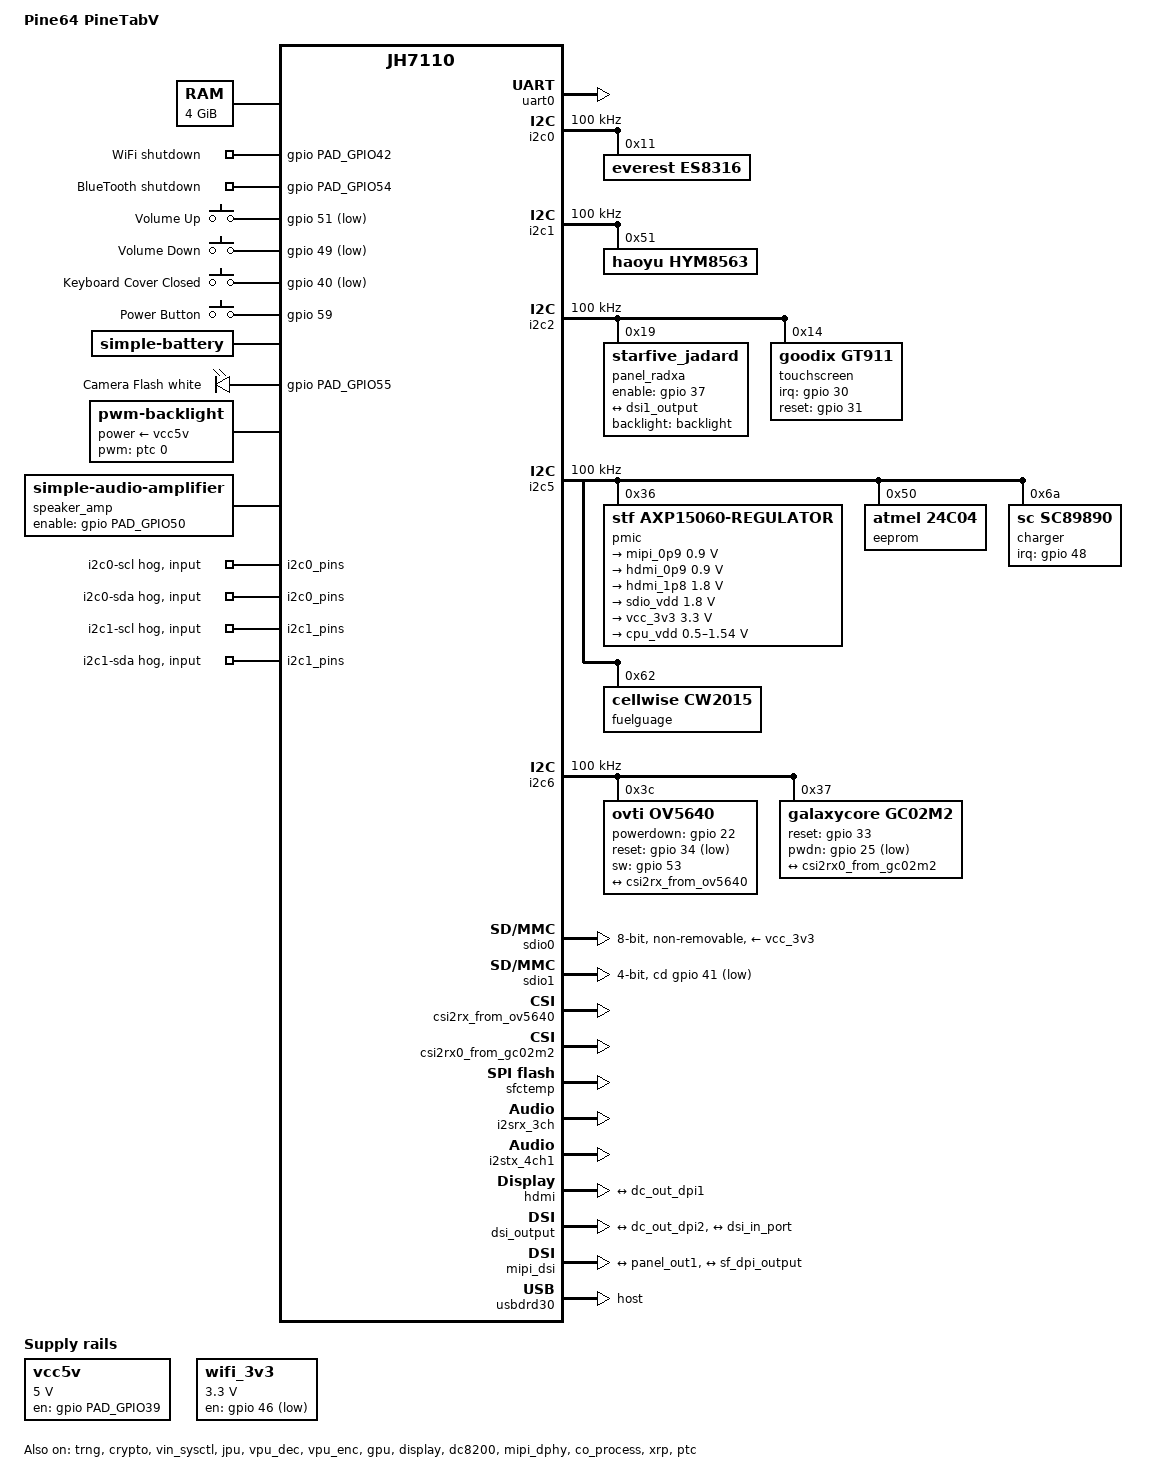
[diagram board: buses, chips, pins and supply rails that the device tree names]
// SPDX-License-Identifier: GPL-2.0 OR MIT
/*
 * Copyright (C) 2022 StarFive Technology Co., Ltd.
 * Copyright (C) 2022 Hal Feng <hal.feng@starfivetech.com>
 */

/dts-v1/;
#include <dt-bindings/gpio/gpio.h>
#include <dt-bindings/leds/common.h>
#include <dt-bindings/pinctrl/starfive,jh7110-pinfunc.h>
#include <dt-bindings/phy/phy.h>
#include <dt-bindings/input/linux-event-codes.h>
#include "jh7110.dtsi"
#include "codecs/sf_hdmi.dtsi"

/ {
	model = "Pine64 PineTabV";
	compatible = "pine64,pinetabv", "starfive,jh7110";
	chassis-type = "tablet";

	aliases {
		spi0 = &qspi;
		gpio0 = &gpio;
		ethernet0 = &gmac0;
		ethernet1 = &gmac1;
		mmc0 = &sdio0;
		mmc1 = &sdio1;
		serial0 = &uart0;
		serial3 = &uart3;
		i2c0 = &i2c0;
		i2c1 = &i2c1;
		i2c2 = &i2c2;
		i2c3 = &i2c3;
		i2c4 = &i2c4;
		i2c5 = &i2c5;
		i2c6 = &i2c6;
	};

	chosen {
		linux,initrd-start = <0x0 0x46100000>;
		linux,initrd-end = <0x0 0x4c000000>;
		stdout-path = "serial0:115200";
		#bootargs = "debug console=ttyS0 rootwait";
	};

	cpus {
		timebase-frequency = <4000000>;
	};

	memory@40000000 {
		device_type = "memory";
		reg = <0x0 0x40000000 0x1 0x0>;
	};

	reserved-memory {
		#address-cells = <2>;
		#size-cells = <2>;
		ranges;

		linux,cma {
			compatible = "shared-dma-pool";
			reusable;
			size = <0x0 0x20000000>;
			alignment = <0x0 0x1000>;
			alloc-ranges = <0x0 0x80000000 0x0 0x20000000>;
			linux,cma-default;
		};

		e24_mem: e24@c0000000 {
			no-map;
			reg = <0x0 0xc0110000 0x0 0xf0000>;
		};

		xrp_reserved: xrpbuffer@f0000000 {
			reg = <0x0 0xf0000000 0x0 0x01ffffff
				0x0 0xf2000000 0x0 0x00001000
				0x0 0xf2001000 0x0 0x00fff000
				0x0 0xf3000000 0x0 0x00001000>;
		};

	};

    vcc5v: vcc5v{
        compatible = "regulator-fixed";
        enable-active-high;
        gpio = <&gpio PAD_GPIO39 GPIO_ACTIVE_LOW>;
        regulator-boot-on;
        regulator-always-on;
        regulator-name = "vcc_5v";
        regulator-min-microvolt = <5000000>;
        regulator-max-microvolt = <5000000>;
    };

    wifi_3v3: wifi_3v3{
        compatible = "regulator-fixed";
        enable-active-low;
        gpio = <&gpio 46 1>;
        regulator-boot-on;
        regulator-always-on;
        regulator-name = "wifi_3v3";
        regulator-min-microvolt = <3300000>;
        regulator-max-microvolt = <3300000>;
    };

	rfkill_wifi {
		compatible = "rfkill-gpio";
		label = "WiFi";
		radio-type = "wlan";
		shutdown-gpios = <&gpio PAD_GPIO42 GPIO_ACTIVE_HIGH>;
	};

	rfkill_bt {
		compatible = "rfkill-gpio";
		label = "BlueTooth";
		radio-type = "bluetooth";
		shutdown-gpios = <&gpio PAD_GPIO54 GPIO_ACTIVE_HIGH>;
	};


    gpio_keys: gpio-keys {
        status = "okay";
        compatible = "gpio-keys";
        autorepeat;

        vol-up-key {
            label = "Volume Up";
            debounce-interval = <10>;
            linux,input-type = <EV_KEY>;
            linux,code = <KEY_VOLUMEUP>;
            gpios = <&gpio 51 GPIO_ACTIVE_LOW>;
        };

        vol-down-key {
            label = "Volume Down";
            debounce-interval = <10>;
            linux,input-type = <EV_KEY>;
            linux,code = <KEY_VOLUMEDOWN>;
            gpios = <&gpio 49 GPIO_ACTIVE_LOW>;
        };

        hall-key {
            label = "Keyboard Cover Closed";
            debounce-interval = <10>;
            linux,input-type = <EV_SW>;
            linux,code = <SW_LID>;
            gpios = <&gpio 40 GPIO_ACTIVE_LOW>;
        };

		power-key {
			label = "Power Button";
			debounce-interval = <10>;
			linux,input-type = <EV_KEY>;
			linux,code = <KEY_POWER>;
			gpios = <&gpio 59 GPIO_ACTIVE_HIGH>;
		};

    };

	battery: battery {
		compatible = "simple-battery";
		charge-full-design-microamp-hours = <6000000>;
		charge-term-current-microamp = <300000>;
		constant-charge-current-max-microamp = <2000000>;
		constant-charge-voltage-max-microvolt = <4350000>;
		voltage-max-design-microvolt = <4350000>;
		voltage-min-design-microvolt = <3400000>;

		ocv-capacity-celsius = <20>;
		ocv-capacity-table-0 = <4322000 100>, <4250000 95>, <4192000 90>, <4136000 85>,
				       <4080000 80>, <4022000 75>, <3972000 70>, <3928000 65>,
				       <3885000 60>, <3833000 55>, <3798000 50>, <3780000 45>,
				       <3776000 40>, <3773000 35>, <3755000 30>, <3706000 25>,
				       <3640000 20>, <3589000 15>, <3535000 10>, <3492000 5>,
				       <3400000 0>;
	};

	leds {
		compatible = "gpio-leds";
		led-flash {
			gpios = <&gpio PAD_GPIO55 GPIO_ACTIVE_HIGH>;
			color = <LED_COLOR_ID_WHITE>;
			function = LED_FUNCTION_FLASH;
			linux,default-trigger = "flash";
			label = "Camera Flash";
			power-supply = <&vcc5v>;
		};
	};

	backlight: backlight {
		compatible = "pwm-backlight";
		pwms = <&ptc 0 500000 0>;
		//enable-gpios = <&gpio PAD_GPIO45 GPIO_ACTIVE_HIGH>;
		brightness-levels = <0 1023>;
		num-interpolated-steps = <1023>;
		default-brightness-level = <576>;
		status = "okay";
		power-supply = <&vcc5v>;
	};

	speaker_amp: speaker-amplifier {
		compatible = "simple-audio-amplifier";
		enable-gpios = <&gpio PAD_GPIO50 GPIO_ACTIVE_HIGH>;
		sound-name-prefix = "Speaker Amplifier";
		//VCC-supply = <&pa_5v>;
	};

};

&gpio {
	i2c0_pins: i2c0-pins {
		i2c0-pins-scl {
			starfive,pins = <PAD_GPIO57>;
			starfive,pinmux = <PAD_GPIO57_FUNC_SEL 0>;
			starfive,pin-ioconfig = <IO(GPIO_IE(1) | (GPIO_PU(1)))>;
			starfive,pin-gpio-dout = <GPO_LOW>;
			starfive,pin-gpio-doen = <OEN_I2C0_IC_CLK_OE>;
			starfive,pin-gpio-din =  <GPI_I2C0_IC_CLK_IN_A>;
			gpio-hog;
			line-name = "i2c0-scl";
		};

		i2c0-pins-sda {
			starfive,pins = <PAD_GPIO58>;
			starfive,pinmux = <PAD_GPIO58_FUNC_SEL 0>;
			starfive,pin-ioconfig = <IO(GPIO_IE(1) | (GPIO_PU(1)))>;
			starfive,pin-gpio-dout = <GPO_LOW>;
			starfive,pin-gpio-doen = <OEN_I2C0_IC_DATA_OE>;
			starfive,pin-gpio-din =  <GPI_I2C0_IC_DATA_IN_A>;
			line-name = "i2c0-sda";
			gpio-hog;
		};
	};

	i2c1_pins: i2c1-pins {
		i2c1-pins-scl {
			starfive,pins = <PAD_GPIO23>;
			starfive,pinmux = <PAD_GPIO23_FUNC_SEL 0>;
			starfive,pin-ioconfig = <IO(GPIO_IE(1) | (GPIO_PU(1)))>;
			starfive,pin-gpio-dout = <GPO_LOW>;
			starfive,pin-gpio-doen = <OEN_I2C1_IC_CLK_OE>;
			starfive,pin-gpio-din =  <GPI_I2C1_IC_CLK_IN_A>;
			gpio-hog;
			line-name = "i2c1-scl";
		};

		i2c1-pins-sda {
			starfive,pins = <PAD_GPIO24>;
			starfive,pinmux = <PAD_GPIO24_FUNC_SEL 0>;
			starfive,pin-ioconfig = <IO(GPIO_IE(1) | (GPIO_PU(1)))>;
			starfive,pin-gpio-dout = <GPO_LOW>;
			starfive,pin-gpio-doen = <OEN_I2C1_IC_DATA_OE>;
			starfive,pin-gpio-din =  <GPI_I2C1_IC_DATA_IN_A>;
			line-name = "i2c1-sda";
			gpio-hog;
		};
	};

	i2c5_pins: i2c5-pins {
		i2c5-pins-scl {
			starfive,pins = <PAD_GPIO19>;
			starfive,pinmux = <PAD_GPIO19_FUNC_SEL 0>;
			starfive,pin-ioconfig = <IO(GPIO_IE(1) | (GPIO_PU(1)))>;
			starfive,pin-gpio-dout = <GPO_LOW>;
			starfive,pin-gpio-doen = <OEN_I2C5_IC_CLK_OE>;
			starfive,pin-gpio-din =  <GPI_I2C5_IC_CLK_IN_A>;
		};

		i2c5-pins-sda {
			starfive,pins = <PAD_GPIO20>;
			starfive,pinmux = <PAD_GPIO20_FUNC_SEL 0>;
			starfive,pin-ioconfig = <IO(GPIO_IE(1) | (GPIO_PU(1)))>;
			starfive,pin-gpio-dout = <GPO_LOW>;
			starfive,pin-gpio-doen = <OEN_I2C5_IC_DATA_OE>;
			starfive,pin-gpio-din =  <GPI_I2C5_IC_DATA_IN_A>;
		};
	};

	i2c6_pins: i2c6-pins {
		i2c6-pins-scl {
			starfive,pins = <PAD_GPIO16>;
			starfive,pinmux = <PAD_GPIO16_FUNC_SEL 0>;
			starfive,pin-ioconfig = <IO(GPIO_IE(1) | (GPIO_PU(1)))>;
			starfive,pin-gpio-dout = <GPO_LOW>;
			starfive,pin-gpio-doen = <OEN_I2C6_IC_CLK_OE>;
			starfive,pin-gpio-din =  <GPI_I2C6_IC_CLK_IN_A>;
		};

		i2c6-pins-sda {
			starfive,pins = <PAD_GPIO17>;
			starfive,pinmux = <PAD_GPIO17_FUNC_SEL 0>;
			starfive,pin-ioconfig = <IO(GPIO_IE(1) | (GPIO_PU(1)))>;
			starfive,pin-gpio-dout = <GPO_LOW>;
			starfive,pin-gpio-doen = <OEN_I2C6_IC_DATA_OE>;
			starfive,pin-gpio-din =  <GPI_I2C6_IC_DATA_IN_A>;
		};
	};

	usb_pins: usb-pins {
		/* we are using the pcie1 WAKE gpio here to fudge the overcurrent detection */
        overcurrent-pin {
            starfive,pins = <PAD_GPIO43>;
            starfive,pinmux = <PAD_GPIO43_FUNC_SEL 0>;
            starfive,pin-ioconfig = <IO(GPIO_IE(1))>;
            starfive,pin-gpio-din = <GPI_USB0_OVERCURRENT_N_IO>;
            starfive,pin-gpio-doen = <OEN_HIGH>;
        };
	};

	i2srx_pins: i2srx-pins {
		i2srx-pins0 {
			starfive,pins = <PAD_GPIO61>;
			starfive,pinmux = <PAD_GPIO61_FUNC_SEL 0>;
			starfive,pin-ioconfig = <IO(GPIO_IE(1))>;
			starfive,pin-gpio-doen = <OEN_HIGH>;
			starfive,pin-gpio-din =  <GPI_I2SRX0_EXT_SDIN0>;
		};
	};

	i2s_clk_pins: i2s-clk0 {
		i2s-clk0_bclk {
			starfive,pins = <PAD_GPIO38>;
			starfive,pinmux = <PAD_GPIO38_FUNC_SEL 0>;
			starfive,pin-ioconfig = <IO(GPIO_IE(1))>;
			starfive,pin-gpio-din = <GPI_I2STX0_BCLK_SLV GPI_I2SRX0_BCLK_SLV>;
			starfive,pin-gpio-doen = <OEN_HIGH>;
		};

		i2s-clk0_lrclk {
			starfive,pins = <PAD_GPIO63>;
			starfive,pinmux = <PAD_GPIO63_FUNC_SEL 0>;
			starfive,pin-ioconfig = <IO(GPIO_IE(1))>;
			starfive,pin-gpio-din = <GPI_I2STX0_LRCK_SLV GPI_I2SRX0_LRCK_SLV>;
			starfive,pin-gpio-doen = <OEN_HIGH>;
		};
	};

	i2stx_pins: i2stx-pins {
		i2stx-pins0 {
			starfive,pins = <PAD_GPIO44>;
			starfive,pinmux = <PAD_GPIO44_FUNC_SEL 0>;
			starfive,pin-ioconfig = <IO(GPIO_IE(1))>;
			starfive,pin-gpio-dout = <GPO_I2STX_4CH1_SDO0>;
			starfive,pin-gpio-doen = <OEN_LOW>;
		};
	};


	rfkill_wifi_pins: rfkill_wifi_pins {
		rfkill_wifi_disn {
			starfive,pins = <PAD_GPIO42>;
			starfive,pinmux = <PAD_GPIO42_FUNC_SEL 0>;
			starfive,pin-ioconfig = <IO(GPIO_IE(1))>;
			starfive,pin-gpio-doen = <OEN_HIGH>;			
		};
	};

	rfkill_bt_pins: rfkill_bt_pins {
		rfkill_bt_disn {
			starfive,pins = <PAD_GPIO54>;
			starfive,pinmux = <PAD_GPIO54_FUNC_SEL 0>;
			starfive,pin-ioconfig = <IO(GPIO_IE(1))>;
			starfive,pin-gpio-doen = <OEN_HIGH>;
		};
	};

    ov5640_pins: ov5640_pins {
        ov5640_pins-pwdn {
            starfive,pins = <PAD_GPIO22>;
            starfive,pinmux = <PAD_GPIO22_FUNC_SEL 0>;
            starfive,pin-ioconfig = <IO(GPIO_IE(1))>;
            starfive,pin-gpio-dout = <GPO_HIGH>;
            starfive,pin-gpio-doen = <OEN_LOW>;
        };

		ov5640_pins-rst {
			starfive,pins = <PAD_GPIO34>;
			starfive,pinmux = <PAD_GPIO34_FUNC_SEL 0>;
			starfive,pin-ioconfig = <IO(GPIO_IE(1))>;
			starfive,pin-gpio-dout = <GPO_HIGH>;
			starfive,pin-gpio-doen = <OEN_LOW>;
		};

		ov5640_pins-sw {
			starfive,pins = <PAD_GPIO53>;
			starfive,pinmux = <PAD_GPIO53_FUNC_SEL 0>;
			starfive,pin-ioconfig = <IO(GPIO_IE(1))>;
			starfive,pin-gpio-dout = <GPO_HIGH>;
			starfive,pin-gpio-doen = <OEN_LOW>;
		};
	};

	gc02m2_pins: gc02m2_pins {
		gc02m2pins-pwdn {
			starfive,pins = <PAD_GPIO25>;
			starfive,pinmux = <PAD_GPIO25_FUNC_SEL 0>;
			starfive,pin-ioconfig = <IO(GPIO_IE(1))>;
			starfive,pin-gpio-dout = <GPO_HIGH>;
			starfive,pin-gpio-doen = <OEN_LOW>;
		};

		gc02m2_pins-rst {
			starfive,pins = <PAD_GPIO33>;
			starfive,pinmux = <PAD_GPIO33_FUNC_SEL 0>;
			starfive,pin-ioconfig = <IO(GPIO_IE(1))>;
			starfive,pin-gpio-dout = <GPO_HIGH>;
			starfive,pin-gpio-doen = <OEN_LOW>;
		};
	};

	lcdbl_pins: lcdbl-pins {
		pwm_ch0-pins {
			starfive,pins = <PAD_GPIO45>;
			starfive,pinmux = <PAD_GPIO45_FUNC_SEL 0>;
			starfive,pin-ioconfig = <IO(GPIO_IE(1) | (GPIO_PD(1)))>;
			starfive,pin-gpio-dout = <GPO_PTC0_PWM_0>;
			starfive,pin-gpio-doen = <OEN_PTC0_PWM_0_OE_N>;
		};
	};

};

&uart0 {
	status = "okay";
};

&dma {
	status = "okay";
};

&trng {
	status = "okay";
};

&crypto {
	status = "okay";
};

&sec_dma {
	status = "okay";
};

&sound7 {
	/* i2s + es8316 */
	simple-audio-card,name = "Pine64,PineTabV";
	simple-audio-card,format = "i2s";
	simple-audio-card,mclk-fs = <256>;	

	simple-audio-card,widgets =
		"Microphone", "Mic Jack",
		"Headphone", "Headphones",
		"Speaker", "Speaker";

	simple-audio-card,routing =
		"MIC1", "Mic Jack",
		"Headphones", "HPOL",
		"Headphones", "HPOR",
		"Speaker Amplifier INL", "HPOL",
		"Speaker Amplifier INR", "HPOR",
		"Speaker", "Speaker Amplifier OUTL",
		"Speaker", "Speaker Amplifier OUTR";

	simple-audio-card,hp-det-gpio = <&gpio PAD_GPIO36 GPIO_ACTIVE_LOW>;
	simple-audio-card,aux-devs = <&speaker_amp>;
	simple-audio-card,pin-switches = "Speaker";

	simple-audio-card,dai-link@0 {
		reg = <0>;
		format = "i2s";
		bitclock-master = <&sndes8316>;
		frame-master = <&sndes8316>;
		mclk-fs = <256>;
		status = "okay";

		sndi2srx1: cpu0 {
			sound-dai = <&i2srx_3ch>;
		};

		sndi2stx1: cpu1 {
			sound-dai = <&i2stx_4ch1>;
		};

		sndes8316: codec {
			sound-dai = <&es8316>;
		};
	};

};

&i2c0 {
	clock-frequency = <100000>;
	i2c-sda-hold-time-ns = <300>;
	i2c-sda-falling-time-ns = <510>;
	i2c-scl-falling-time-ns = <510>;
	auto_calc_scl_lhcnt;
	pinctrl-names = "default";
	pinctrl-0 = <&i2c0_pins>;
	status = "okay";

	es8316: codec@11 {
		compatible = "everest,es8316";
		reg = <0x11>;
		clocks = <&es8316_mclk>;
		clock-names = "mclk";
		#sound-dai-cells = <0>;
	};
};

&i2c1 {
	clock-frequency = <100000>;
	i2c-sda-hold-time-ns = <300>;
	i2c-sda-falling-time-ns = <510>;
	i2c-scl-falling-time-ns = <510>;
	auto_calc_scl_lhcnt;
	pinctrl-names = "default";
	pinctrl-0 = <&i2c1_pins>;
	status = "okay";

	hym8563@51 {
		compatible = "haoyu,hym8563";
		reg = <0x51>;
	};
};


&i2c2 {
	clock-frequency = <100000>;
	i2c-sda-hold-time-ns = <300>;
	i2c-sda-falling-time-ns = <510>;
	i2c-scl-falling-time-ns = <510>;
	auto_calc_scl_lhcnt;
	status = "okay";

	panel_radxa@19 {
		status = "okay";
		compatible ="starfive_jadard";
		reg = <0x19>;
		//reset-gpio = <&gpio 23 0>;
		//blen-gpio = <&gpio 45 0>;
		enable-gpio = <&gpio 37 0>;
		backlight = <&backlight>;
		rotation = <90>;

		port {
			panel_out1: endpoint {
				remote-endpoint = <&dsi1_output>;
				};
		};
	};

	touchscreen@14 {
		status = "okay";
		compatible = "goodix,gt911";
		reg = <0x14>;
		irq-gpios = <&gpio 30 GPIO_ACTIVE_HIGH>;
		reset-gpios = <&gpio 31 GPIO_ACTIVE_HIGH>;
	};

};

&i2c5 {
	clock-frequency = <100000>;
	i2c-sda-hold-time-ns = <300>;
	i2c-sda-falling-time-ns = <510>;
	i2c-scl-falling-time-ns = <510>;
	auto_calc_scl_lhcnt;
	pinctrl-names = "default";
	pinctrl-0 = <&i2c5_pins>;
	status = "okay";

	pmic: axp15060_reg@36 {
		compatible = "stf,axp15060-regulator";
		reg = <0x36>;

		regulators {
			mipi_0p9: ALDO1 {
				regulator-boot-on;
				regulator-compatible = "mipi_0p9";
				regulator-name = "mipi_0p9";
				regulator-min-microvolt = <900000>;
				regulator-max-microvolt = <900000>;
			};
			hdmi_0p9: ALDO5 {
				regulator-boot-on;
				regulator-compatible = "hdmi_0p9";
				regulator-name = "hdmi_0p9";
				regulator-min-microvolt = <900000>;
				regulator-max-microvolt = <900000>;
			};
			hdmi_1p8: ALDO3 {
				regulator-boot-on;
				regulator-compatible = "hdmi_1p8";
				regulator-name = "hdmi_1p8";
				regulator-min-microvolt = <1800000>;
				regulator-max-microvolt = <1800000>;
			};
			sdio_vdd: ALDO4 {
				regulator-boot-on;
				regulator-always-on;
				regulator-compatible = "sdio_vdd";
				regulator-name = "sdio_vdd";
				regulator-min-microvolt = <1800000>;
				regulator-max-microvolt = <1800000>;
			};
			vcc_3v3: DCDC1 {
				regulator-boot-on;
				regulator-always-on;
				regulator-compatible = "vcc_3v3";
				regulator-name = "vcc_3v3";
				regulator-min-microvolt = <3300000>;
				regulator-max-microvolt = <3300000>;
			};
			cpu_vdd: DCDC2 {
				regulator-boot-on;
				regulator-always-on;
				regulator-compatible = "cpu_vdd";
				regulator-name = "cpu_vdd";
				regulator-min-microvolt = <500000>;
				regulator-max-microvolt = <1540000>;
			};
		};
	};

	eeprom@50 {
		compatible = "atmel,24c04";
		reg = <0x50>;
		pagesize = <16>;
	};

	charger: sc89890@6a {
		compatible = "sc,sc89890";
		status = "okay";
		reg = <0x6a>;
		interrupt-parent = <&gpio>;
		interrupts = <48 IRQ_TYPE_EDGE_FALLING>;
		ti,battery-regulation-voltage = <4350000>; /* maximum charging voltage (in uV) */
		ti,charge-current = <2000000> /* maximum charging current (in uA) */;
		ti,termination-current = <300000>;  /* charge will be terminated when current in constant-voltage phase drops below this value (in uA) */
		ti,precharge-current = <128000>; /* maximum charge current during precharge phase (in uA) */
		ti,minimum-sys-voltage = <3400000>; /* when battery is charging and it is below minimum system voltage, the system will be regulated above minimum-sys-voltage setting (in uV) */
		ti,boost-voltage = <5000000>; /* VBUS voltage level in boost mode (in uV) */
		ti,boost-max-current = <1500000>; /* maximum allowed current draw in boost mode (in uA) */
		ti,use-ilim-pin = <0>; /* dont use ILIM pin to set charge current */
		ti,input-current-limit = <2000000>; /* maximum input current limit (in uA) as PtV can't detect what type of Charger is connected */
		monitored-battery = <&battery>;
	};

    fuelguage: cw2015@62 {
        status = "okay";
        compatible = "cellwise,cw2015";
        reg = <0x62>;
        cellwise,battery-profile = /bits/ 8
			<0x17 0x67 0x63 0x64 0x63 0x62 0x61 0x5E
			0x59 0x61 0x55 0x57 0x60 0x50 0x43 0x3C
			0x33 0x2D 0x27 0x24 0x26 0x2D 0x39 0x47
			0x44 0x11 0x0E 0x15 0x20 0x41 0x48 0x55
			0x59 0x5B 0x60 0x60 0x3F 0x19 0x6A 0x4A
			0x0B 0x1B 0x2D 0x57 0x8B 0x93 0x96 0x13
			0x2E 0x56 0xA3 0xCA 0x80 0x6A 0x99 0xCB
			0x2F 0x00 0x64 0xA5 0xB5 0x11 0xF0 0x31>;
		cellwise,monitor-interval-ms = <5000>;
		monitored-battery = <&battery>;
        power-supplies = <&charger>;
    };  

};




&i2c6 {
	clock-frequency = <100000>;
	i2c-sda-hold-time-ns = <300>;
	i2c-sda-falling-time-ns = <510>;
	i2c-scl-falling-time-ns = <510>;
	auto_calc_scl_lhcnt;
	pinctrl-names = "default";
	pinctrl-0 = <&i2c6_pins>;
	status = "okay";

	ov5640: camera@3c {
		status = "okay";
		compatible = "ovti,ov5640";
		pinctrl-names = "default";
		pinctrl-0 = <&ov5640_pins>;
		reg = <0x3c>;
		clocks = <&clk_ext_camera>;
		clock-names = "xclk";
		powerdown-gpios = <&gpio 22 GPIO_ACTIVE_HIGH>;
		reset-gpios = <&gpio 34 GPIO_ACTIVE_LOW>;
		sw-gpios = <&gpio 53 GPIO_ACTIVE_HIGH>;
		rotation = <0>;

		port {
			/* CSI2 bus endpoint */
			ov5640_to_csi2rx: endpoint {
				remote-endpoint = <&csi2rx_from_ov5640>;
				bus-type = <4>;      /* MIPI CSI-2 D-PHY */
				data-lanes = <2 1>;
				lane-polarities = <0 0 0>;
				link-frequencies = /bits/ 64 <456000000>;
			};
		};
	};

	gc02m2: gc02m2@37 {
		status = "okay";
		compatible = "galaxycore,gc02m2";
		pinctrl-names = "default";
		pinctrl-0 = <&gc02m2_pins>;
		reg = <0x37>;
		clocks = <&clk_ext_camera>;
		clock-names = "xvclk";
		reset-gpio = <&gpio 33 GPIO_ACTIVE_HIGH>;
		pwdn-gpio = <&gpio 25 GPIO_ACTIVE_LOW>;
		// sw-gpios = <&gpio 53 GPIO_ACTIVE_LOW>;

		port {
			gc02m2_to_csi2rx0: endpoint {
				remote-endpoint = <&csi2rx0_from_gc02m2>;
				bus-type = <4>;      /* MIPI CSI-2 D-PHY */
				data-lanes = <1>;
				link-frequencies = /bits/ 64 <336000000>;
			};
		};
	};

};

&sdio0 {
	max-frequency = <100000000>;
	card-detect-delay = <300>;
	bus-width = <8>;
	cap-mmc-highspeed;
	non-removable;
	cap-mmc-hw-reset;
	post-power-on-delay-ms = <200>;
	vmmc-supply = <&vcc_3v3>;
	vqmmc-supply = <&sdio_vdd>;
	status = "okay";
};

&sdio1 {
	max-frequency = <100000000>;
	card-detect-delay = <300>;
	bus-width = <4>;
	no-sdio;
	no-mmc;
	cap-sd-highspeed;
	post-power-on-delay-ms = <200>;
	status = "okay";
	cd-gpios = <&gpio 41 GPIO_ACTIVE_LOW>;
};

&vin_sysctl {
	/* when use dvp open this pinctrl*/
	status = "okay";

	ports {
		#address-cells = <1>;
		#size-cells = <0>;

		port@1 {
			reg = <1>;
			#address-cells = <1>;
			#size-cells = <0>;
			csi2rx_from_ov5640: endpoint@0 {
				reg = <0>;
				remote-endpoint = <&ov5640_to_csi2rx>;
				bus-type = <4>;      /* MIPI CSI-2 D-PHY */
				clock-lanes = <0>;
				data-lanes = <2 1>;
				lane-polarities = <0 0 0>;
				status = "okay";
			};

			csi2rx0_from_gc02m2: endpoint@1 {
				reg = <1>;
				remote-endpoint = <&gc02m2_to_csi2rx0>;
				bus-type = <4>;      /* MIPI CSI-2 D-PHY */
				clock-lanes = <0>;
				data-lanes = <2 1>;
				lane-polarities = <0 0 0>;
				status = "okay";
			};
		};
	};
};

&sfctemp {
	status = "okay";
};

&jpu {
	status = "okay";
};

&vpu_dec {
	status = "okay";
};

&vpu_enc {
	status = "okay";
};

&gpu {
	status = "okay";
};

&gmac0 {
	status = "disabled";
};

&gmac1 {
	status = "disabled";
};

&pwmdac {
	status = "disabled";
};

&i2srx_3ch {
	pinctrl-names = "default";
	pinctrl-0 = <&i2s_clk_pins &i2srx_pins>;
	status = "okay";
};

&i2stx_4ch1 {
	pinctrl-names = "default";
	pinctrl-0 = <&i2stx_pins>;
	status = "okay";
};

&pwmdac_codec {
	status = "disabled";
};

&spi0 {
	status = "disabled";
};

&pcie1 {
	status = "disabled";
};

&mailbox_contrl0 {
	status = "okay";
};

&mailbox_client0 {
	status = "okay";
};

&display {
	status = "okay";
};

&hdmi {
	status = "okay";

	hdmi_in: port {
		#address-cells = <1>;
		#size-cells = <0>;
		hdmi_in_lcdc: endpoint@0 {
			reg = <0>;
			remote-endpoint = <&dc_out_dpi1>;
		};
	};
};

&dc8200 {
	status = "okay";

	dc_out: port {
		#address-cells = <1>;
		#size-cells = <0>;
		dc_out_dpi0: endpoint@0 {
			reg = <0>;
			remote-endpoint = <&hdmi_input0>;
		};
		dc_out_dpi1: endpoint@1 {
			reg = <1>;
			remote-endpoint = <&hdmi_in_lcdc>;
		};

		dc_out_dpi2: endpoint@2 {
			reg = <2>;
			remote-endpoint = <&mipi_in>;
		};
	};
};

&rgb_output {
	status = "disabled";

	ports {
		#address-cells = <1>;
		#size-cells = <0>;
		port@0 {
			#address-cells = <1>;
			#size-cells = <0>;
			reg = <0>;
			hdmi_input0:endpoint@0 {
				reg = <0>;
				remote-endpoint = <&dc_out_dpi0>;
			};
		};
	};
};

&dsi_output {
	status = "okay";

	ports {
		#address-cells = <1>;
		#size-cells = <0>;

		port@0 {
			reg = <0>;
			mipi_in: endpoint {
				remote-endpoint = <&dc_out_dpi2>;
			};
		};

		port@1 {
			reg = <1>;
			sf_dpi_output: endpoint {
				remote-endpoint = <&dsi_in_port>;
			};
		};
	};
};

&mipi_dsi {
	status = "okay";

	ports {
		#address-cells = <1>;
		#size-cells = <0>;

		port@0 {
			reg = <0>;
			#address-cells = <1>;
			#size-cells = <0>;

			dsi1_output: endpoint@3 {
				reg = <3>;
				remote-endpoint = <&panel_out1>;
			};

		};

		port@1{
			reg = <1>;
			dsi_in_port: endpoint {
				remote-endpoint = <&sf_dpi_output>;
			};
		};

	};
};

&mipi_dphy {
	status = "okay";
};

&co_process {
	status = "okay";
};

&usbdrd30 {
	clocks = <&clkgen JH7110_USB_125M>,
		 <&clkgen JH7110_USB0_CLK_APP_125>,
		 <&clkgen JH7110_USB0_CLK_LPM>,
		 <&clkgen JH7110_USB0_CLK_STB>,
		 <&clkgen JH7110_USB0_CLK_USB_APB>,
		 <&clkgen JH7110_USB0_CLK_AXI>,
		 <&clkgen JH7110_USB0_CLK_UTMI_APB>;
	clock-names = "125m","app","lpm","stb","apb","axi","utmi";
	resets = <&rstgen RSTN_U0_CDN_USB_PWRUP>,
		 <&rstgen RSTN_U0_CDN_USB_APB>,
		 <&rstgen RSTN_U0_CDN_USB_AXI>,
		 <&rstgen RSTN_U0_CDN_USB_UTMI_APB>;
	reset-names = "pwrup","apb","axi","utmi";
	dr_mode = "host"; /*host or peripheral*/
	status = "okay";
	pinctrl-names = "default";
	pinctrl-0 = <&usb_pins>;
	xhci-lowmem-pool;
};

&xrp {
	status = "okay";
};

&ptc {
	pinctrl-names = "default";
	pinctrl-0 = <&lcdbl_pins>;
	status = "okay";
};
